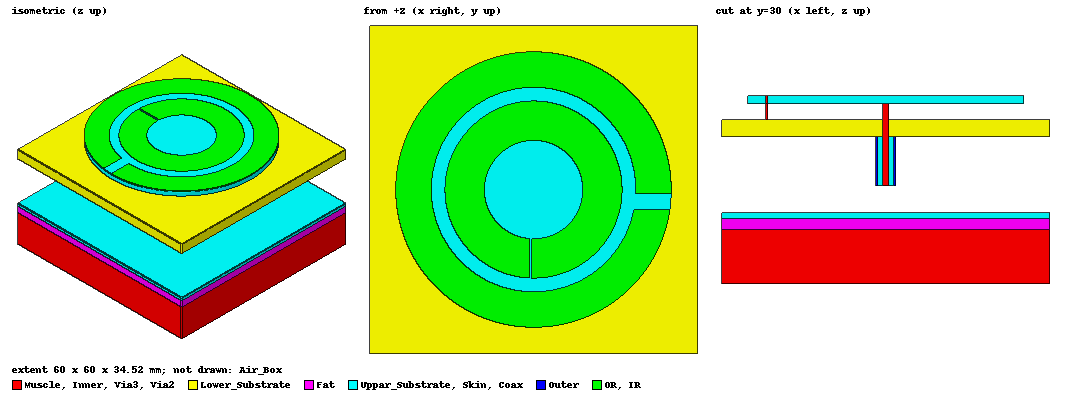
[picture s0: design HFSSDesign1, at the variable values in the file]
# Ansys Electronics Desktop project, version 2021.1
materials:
  vacuum: permittivity=1
  Taconic TLY (tm): permittivity=2.2 dielectric_loss_tangent=0.0009
  pec: conductivity=1e+30
  Teflon (tm): permittivity=2.1 dielectric_loss_tangent=0.001 mass_density=2250
  FR4_epoxy: permittivity=4.4 dielectric_loss_tangent=0.02 mass_density=1900
  Fat: permittivity=4.955 conductivity=0.293 dielectric_loss_tangent=0.183
  Muscle: permittivity=48.485 conductivity=4.962 dielectric_loss_tangent=0.317
  Skin: permittivity=35.114 conductivity=3.717 dielectric_loss_tangent=0.328
  Felt: permittivity=1.6

design HFSSDesign1 (HFSS, DrivenModal, model units mm)
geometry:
  Ground = rectangle(corner=(0mm, 0mm, -3mm), x_size=60mm, y_size=60mm)
  Lower_Substrate [Felt] = box(corner=(0mm, 0mm, 0mm), size=(60mm, 60mm, -3mm))
  coordinate_system RelativeCS1 = origin=(30mm, 30mm, 0mm) x=(1mm, 0mm, 0mm) y=(0mm, 1mm, 0mm)
  Uppar_Substrate [Taconic TLY (tm)] = cylinder(axis=Z, base_centre=(0mm, 0mm, 3mm), radius=25.2mm, height=1.52mm) in RelativeCS1
  r2 = circle(normal=Z, centre=(0mm, 0mm, 4.52mm), radius=18.7mm) in RelativeCS1
  OR = circle(normal=Z, centre=(0mm, 0mm, 4.52mm), radius=25.2mm) in RelativeCS1
  r1 = circle(normal=Z, centre=(0mm, 0mm, 4.52mm), radius=9mm) in RelativeCS1
  IR = circle(normal=Z, centre=(0mm, 0mm, 4.52mm), radius=16.2mm) in RelativeCS1
  OR.subtract(r2)
  IR.subtract(r1)
  r3 = circle(normal=Z, centre=(0mm, 0mm, 3mm), radius=5.5mm) in RelativeCS1
  Feeding_Network = circle(normal=Z, centre=(0mm, 0mm, 3mm), radius=9mm) in RelativeCS1
  Rectangle2 = rectangle(corner=(9mm, -0.25mm, 3mm), x_size=13mm, y_size=0.5mm) in RelativeCS1
  Rectangle3 = rectangle(corner=(-0.25mm, -8.97mm, 3mm), x_size=0.5mm, y_size=-3.9mm) in RelativeCS1
  Rectangle4 = rectangle(corner=(-1mm, -1.75mm, 3mm), x_size=10mm, y_size=3.5mm) in RelativeCS1
  Feeding_Network.subtract(r3)
  Rectangle5 = rectangle(corner=(-0.75mm, -8.9mm, 4.52mm), x_size=0.4mm, y_size=-7.3mm) in RelativeCS1
  Rectangle6 = rectangle(corner=(18.2mm, -0.75mm, 4.52mm), x_size=7mm, y_size=-3mm) in RelativeCS1
  OR.subtract(Rectangle6)
  IR.subtract(Rectangle5)
  Inner [pec] = cylinder(axis=Z, base_centre=(0mm, 0mm, 3mm), radius=0.5mm, height=-15mm) in RelativeCS1
  Rectangle7 = rectangle(corner=(-10mm, 1.75mm, 3mm), x_size=20mm, y_size=16mm) in RelativeCS1
  Rectangle8 = rectangle(corner=(-0.25mm, -12.6mm, 3mm), x_size=-10mm, y_size=10.85mm) in RelativeCS1
  Rectangle9 = rectangle(corner=(-1mm, 1.75mm, 3mm), x_size=-11mm, y_size=-5.75mm) in RelativeCS1
  Feeding_Network.subtract(Rectangle7, Rectangle8, Rectangle9)
  Via2 [pec] = cylinder(axis=Z, base_centre=(21.7mm, 0mm, 4.52mm), radius=0.2mm, height=-1.52mm) in RelativeCS1
  Feeding_Network.unite(Rectangle3, Rectangle2, Rectangle4)
  Outer [pec] = cylinder(axis=Z, base_centre=(0mm, 0mm, -3mm), radius=1.75mm, height=-9mm) in RelativeCS1
  Via1 [pec] = cylinder(axis=Z, base_centre=(0mm, -12.6mm, 3mm), radius=0.2mm, height=1.52mm) in RelativeCS1
  Via3 [pec] = cylinder(axis=Z, base_centre=(21.7mm, -4.5mm, 4.52mm), radius=0.2mm, height=-7.52mm) in RelativeCS1
  Coax [Teflon (tm)] = cylinder(axis=Z, base_centre=(0mm, 0mm, -3mm), radius=1.5mm, height=-9mm) in RelativeCS1
  Coax_1 = Coax.copy()
  Outer.subtract(Coax_1)
  Inner_1 = Inner.copy()
  Coax.subtract(Inner_1)
  Via1_1 = Via1.copy()
  Via2_1 = Via2.copy()
  Via3_1 = Via3.copy()
  Uppar_Substrate.subtract(Via1_1, Via2_1, Via3_1)
  Inner_2 = Inner.copy()
  Via3_2 = Via3.copy()
  Lower_Substrate.subtract(Inner_2, Via3_2)
  Air_Box [vacuum] = box(corner=(-2.5mm, -2.5mm, -31mm), size=(65mm, 65mm, 80mm))
  Circle1 = circle(normal=Z, centre=(30mm, 30mm, -3mm), radius=1.75mm)
  Ground.subtract(Circle1)
  Skin [Skin] = box(corner=(0mm, 0mm, -17mm), size=(60mm, 60mm, -1mm))
  coordinate_system RelativeCS2 = origin=(30mm, 30mm, 0mm) x=(1mm, 0mm, 0mm) y=(0mm, 1mm, 0mm)
  Muscle [Muscle] = box(corner=(0mm, 0mm, -20mm), size=(60mm, 60mm, -10mm))
  Fat [Fat] = box(corner=(0mm, 0mm, -18mm), size=(60mm, 60mm, -2mm))
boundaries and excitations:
  PerfE1: Perfect E Objects=Ground InfGroundPlane
  PerfE2: Perfect E Objects=[IR, OR, Feeding_Network]
  Rad1: Radiation Faces=Air_Box.face(-y, +x, +y, +z, -x)
  1: Lumped Port Faces=Coax.face(2 of 3) Modes{Mode1{IntLine{middle of Coax.edge(1 of 2) -> middle of Coax.edge(at (29.5, 30, -12))} CharImp=Zpi RenormImp=50ohm}} Impedance=50ohm
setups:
  Setup1: HfssDriven Frequency=2.45GHz MaxDeltaS=0.02 MaximumPasses=6 MinimumPasses=1 MinimumConvergedPasses=1 PercentRefinement=30 BasisOrder=1 PortAccuracy=2
    sweep Sweep: 1.5GHz to 5.5GHz, 91 points; Type=Fast SaveFields GenerateFieldsForAllFreqs
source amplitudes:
  1:1: 1W 0deg
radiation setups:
  Infinite Sphere1: Infinite Sphere Theta=-180deg..180deg step 5deg Phi=0deg..360deg step 5deg
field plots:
  Local_SAR1: SAR Field in Skin, Muscle, Fat on Setup1 : Sweep at Freq=3.27778GHz Phase=0deg
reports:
  S Parameter Plot 1: dB(S(1,1)) vs Freq on Setup1 : Sweep; markers m1 at 2.3GHz, m2 at 3.3666667GHz, m3 at 4.2111111GHz, MY1 at y=-10
  Radiation Pattern at 2.3 GHz: dB(GainTotal) vs Theta on Setup1 : Sweep, Infinite Sphere1 [Phi=0deg,90deg Freq=2.3GHz]
  Radiation Pattern at 3.2 GHz: dB(GainTotal) vs Theta on Setup1 : Sweep, Infinite Sphere1 [Phi=0deg,90deg Freq=3.23333GHz]
  Radiation Pattern at 4.1 GHz: dB(GainTotal) vs Theta on Setup1 : Sweep, Infinite Sphere1 [Phi=0deg,90deg Freq=4.12222GHz]
  Radiation Pattern at 3.0Ghz: dB(GainTotal) vs Theta on Setup1 : Sweep, Infinite Sphere1 [Phi=0deg,90deg Freq=3.01111GHz]
  Radiation Pattern at 3.45 GHz: dB(GainTotal) vs Theta on Setup1 : Sweep, Infinite Sphere1 [Phi=0deg,90deg Freq=3.45556GHz]
  Radation Patternat 2.45 GHz: dB(GainTheta) vs Theta on Setup1 : Sweep, Infinite Sphere1 [Phi=0deg,90deg Freq=2.47778GHz]
